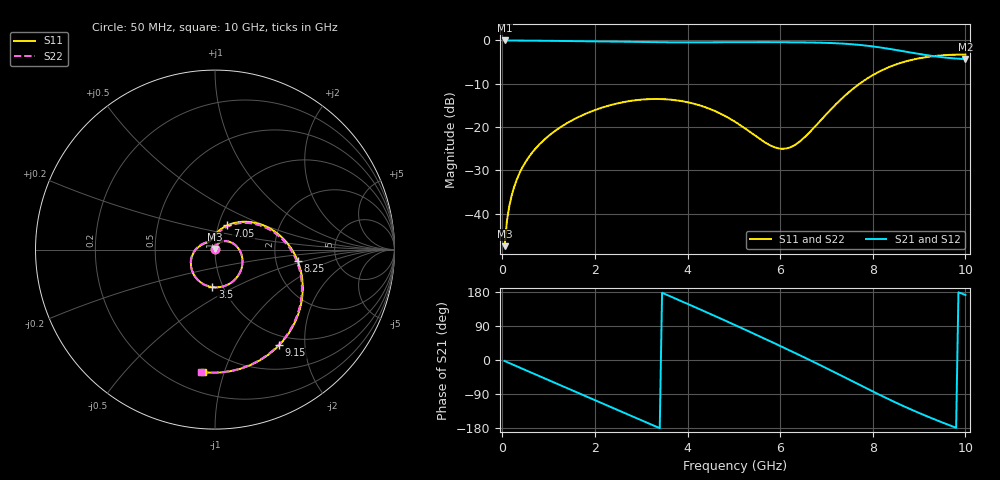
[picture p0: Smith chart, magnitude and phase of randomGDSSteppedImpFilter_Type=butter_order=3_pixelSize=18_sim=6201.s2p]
! freq	dB(S11)	phase(S11)	dB(S12)	phase(S12)
!  dB(S21)	phase(S21)	dB(S22)	phase(S22)
!S-par simulation data
#  GHz  S  DB  R 50
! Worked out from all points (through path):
!   200 points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, 50 MHz to 10 GHz, reference 50 ohm
!   highest |S21| = 0.00 dB at 50 MHz (marker M1); lowest = -4.3 dB at 10 GHz (marker M2)
!   group delay of S21, straight-line fit = 155 ps
!   lowest |S11| = -47.5 dB at 50 MHz (marker M3), VSWR 1.01, Z = 50 + j0.418 ohm
!   |S11| at or under -10 dB: start of sweep to 7.716 GHz
!   |S22| runs from -47.5 to -3.3 dB; largest |S21 - S12| = 0
!   S11 on the Smith chart (normalised r, x): 50 MHz: 1.00, +0.01; 3.5 GHz: 0.89, -0.39; 7.05 GHz: 1.10, +0.30; 8.25 GHz: 2.66, -0.44; 9.15 GHz: 0.85, -1.53; 10 GHz: 0.33, -0.85
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0.05  -47.53 84.3  -0.00 -2.7  -0.00 -2.7  -47.54 84.3
0.1  -41.71 81.6  -0.01 -5.4  -0.01 -5.4  -41.71 81.6
0.2  -35.95 76.8  -0.02 -10.7  -0.02 -10.7  -35.95 76.8
0.5  -28.13 62.4  -0.04 -26.6  -0.04 -26.6  -28.13 62.3
1.15  -20.83 29.0  -0.10 -61.1  -0.10 -61.1  -20.83 28.8
1.75  -17.18 -2.4  -0.19 -92.8  -0.19 -92.8  -17.18 -2.6
2.2  -15.37 -25.9  -0.27 -116.6  -0.27 -116.6  -15.37 -26.2
2.65  -14.18 -49.5  -0.34 -140.3  -0.34 -140.3  -14.19 -49.9
3.4  -13.53 -88.8  -0.43 -179.9  -0.43 -179.9  -13.54 -89.2
3.5  -13.57 -94.0  -0.43 174.8  -0.43 174.8  -13.58 -94.5
4.2  -14.80 -130.7  -0.44 137.4  -0.44 137.4  -14.81 -131.5
4.65  -16.60 -154.6  -0.41 112.9  -0.41 112.9  -16.61 -155.8
5.05  -18.96 -176.3  -0.40 90.8  -0.40 90.8  -18.98 -178.1
5.5  -22.30 158.6  -0.39 65.6  -0.39 65.6  -22.33 155.3
6  -24.99 128.3  -0.40 37.1  -0.40 37.1  -24.99 122.6
6.7  -20.51 84.1  -0.48 -3.7  -0.48 -3.7  -20.46 79.7
7.05  -16.44 63.2  -0.58 -24.7  -0.58 -24.7  -16.42 60.1
7.65  -10.52 27.4  -0.97 -61.6  -0.97 -61.6  -10.52 25.5
8.25  -6.63 -8.1  -1.77 -98.0  -1.77 -98.0  -6.63 -9.4
8.35  -6.17 -13.8  -1.94 -103.9  -1.94 -103.9  -6.17 -15.1
9.15  -3.86 -56.1  -3.37 -147.5  -3.37 -147.5  -3.86 -57.2
10  -3.28 -95.6  -4.29 171.6  -4.29 171.6  -3.29 -96.6
